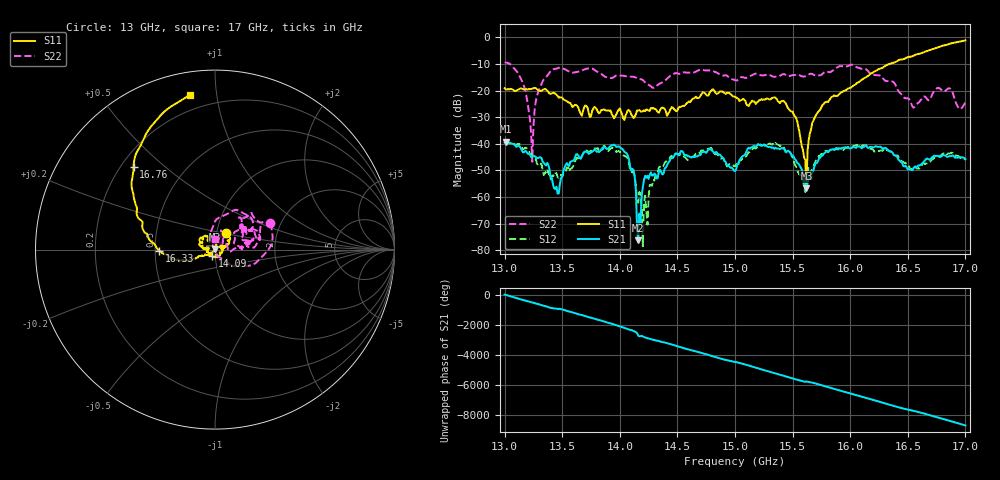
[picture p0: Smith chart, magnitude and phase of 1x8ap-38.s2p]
!Keysight Technologies,P9374A,MY57211807,A.19.30.04
!Date: Friday, May 08, 2026 15:44:35
!Correction: S11(C  2-Port  )
!S21(C  2-Port  )
!S12(C  2-Port  )
!S22(C  2-Port  )
!S2P File: Measurements: S11, S21, S12, S22:
# Hz S  dB  R 50
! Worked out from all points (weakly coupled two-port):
!   401 points, 13 GHz to 17 GHz, reference 50 ohm
!   highest |S21| = -39.27 dB at 13.01 GHz (marker M1); lowest = -76.3 dB at 14.16 GHz (marker M2)
!   lowest |S11| = -56.7 dB at 15.62 GHz (marker M3), VSWR 1.00, Z = 49.9 + j0.0888 ohm
!   |S11| at or under -10 dB: start of sweep to 16.34 GHz
!   |S22| runs from -46.7 to -9.4 dB; largest |S21 - S12| = 0.0023
!   S11 on the Smith chart (normalised r, x): 13 GHz: 1.11, +0.21; 14.09 GHz: 0.97, -0.07; 16.33 GHz: 0.53, -0.01; 16.76 GHz: 0.25, +0.40; 17 GHz: 0.12, +0.84
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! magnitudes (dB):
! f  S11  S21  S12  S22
! 13 GHz  -19.1  -39.6  -39.7  -9.4
! 13.01 GHz  -19.5  -39.3  -39.4  -9.5
! 13.16 GHz  -19.5  -43.3  -42.0  -17.3
! 13.23 GHz  -19.4  -45.0  -43.9  -35.9
! 13.39 GHz  -21.1  -49.7  -51.7  -13.2
! 13.45 GHz  -21.5  -56.1  -51.0  -11.8
! 13.67 GHz  -29.4  -44.8  -44.6  -12.5
! 14.09 GHz  -27.8  -48.6  -50.1  -14.8
! 14.16 GHz  -27.5  -76.3  -62.1  -15.6
! 14.22 GHz  -27.8  -52.0  -59.6  -16.9
! 14.34 GHz  -28.4  -50.2  -48.8  -17.5
! 14.78 GHz  -20.8  -42.1  -41.9  -12.4
! 15 GHz  -22.4  -50.3  -48.2  -16.1
! 15.43 GHz  -24.3  -42.1  -41.8  -13.9
! 15.62 GHz  -56.7  -56.2  -51.4  -14.4
! 15.67 GHz  -32.3  -50.3  -49.4  -13.8
! 15.84 GHz  -22.4  -42.2  -42.4  -12.8
! 16.33 GHz  -10.2  -42.4  -42.6  -16.4
! 16.34 GHz  -10.0  -42.8  -42.8  -16.4
! 16.55 GHz  -6.9  -49.2  -49.1  -26.4
! 16.76 GHz  -3.8  -44.6  -45.0  -19.0
! 17 GHz  -1.2  -45.8  -46.0  -24.3
